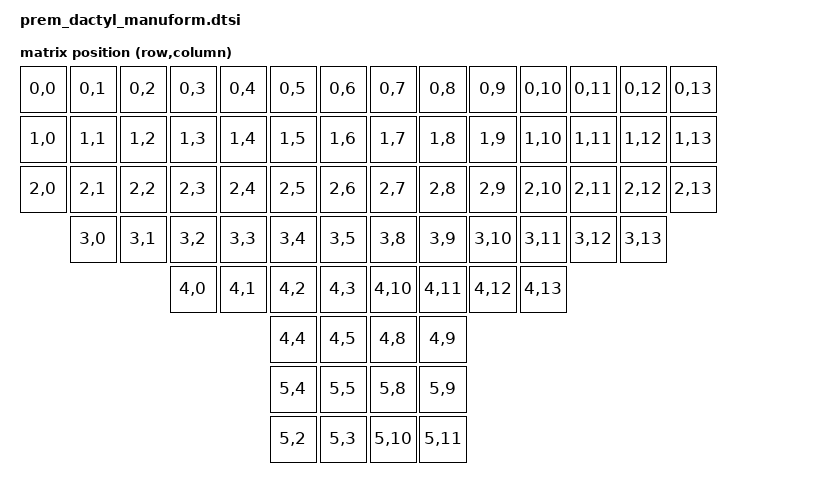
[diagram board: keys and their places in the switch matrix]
#include <dt-bindings/zmk/matrix_transform.h>

/ {
	chosen {
		zmk,kscan = &kscan0;
		zmk,matrix_transform = &default_transform;
	};

	default_transform: keymap_transform_0 {
		compatible = "zmk,matrix-transform";
		columns = <14>;
		rows = <6>;
// | SW1  | SW2  | SW3  | SW4  | SW5  | SW6  |   | SW6  | SW5  | SW4  | SW3  | SW2  | SW1  |
// | SW7  | SW8  | SW9  | SW10 | SW11 | SW12 |   | SW12 | SW11 | SW10 | SW9  | SW8  | SW7  |
// | SW13 | SW14 | SW15 | SW16 | SW17 | SW18 |   | SW18 | SW17 | SW16 | SW15 | SW14 | SW13 |
//                      | SW19 | SW20 | SW21 |   | SW21 | SW20 | SW19 |

// RC(0,0) RC(0,1) RC(0,2) RC(0,3) RC(0,4) RC(0,5)  RC(0,6) RC(0,7) RC(0,8) RC(0,9) RC(0,10) RC(0,11)
// RC(1,0) RC(1,1) RC(1,2) RC(1,3) RC(1,4) RC(1,5)  RC(1,6) RC(1,7) RC(1,8) RC(1,9) RC(1,10) RC(1,11)
// RC(2,0) RC(2,1) RC(2,2) RC(2,3) RC(2,4) RC(2,5)  RC(2,6) RC(2,7) RC(2,8) RC(2,9) RC(2,10) RC(2,11)
//                         RC(3,3) RC(3,4) RC(3,5)  RC(3,6) RC(3,7) RC(3,8)
		map = <
RC(0, 0)  RC(0, 1)  RC(0, 2)  RC(0, 3)  RC(0, 4)  RC(0, 5)  RC(0, 6)     RC(0, 7)  RC(0, 8)  RC(0, 9)  RC(0,10)  RC(0,11)  RC(0,12)  RC(0,13)
RC(1, 0)  RC(1, 1)  RC(1, 2)  RC(1, 3)  RC(1, 4)  RC(1, 5)  RC(1, 6)		 RC(1, 7)  RC(1, 8)  RC(1, 9)  RC(1,10)  RC(1,11)  RC(1,12)  RC(1,13)
RC(2, 0)  RC(2, 1)  RC(2, 2)  RC(2, 3)  RC(2, 4)  RC(2, 5)  RC(2, 6)	   RC(2, 7)  RC(2, 8)  RC(2, 9)  RC(2,10)  RC(2,11)  RC(2,12)  RC(2,13)
RC(3, 0)  RC(3, 1)  RC(3, 2)  RC(3, 3)  RC(3, 4)  RC(3, 5)											   RC(3, 8)  RC(3, 9)  RC(3,10)  RC(3,11)  RC(3,12)  RC(3,13)
RC(4, 0)  RC(4, 1)  RC(4, 2)  RC(4, 3)																			                           RC(4,10)  RC(4,11)  RC(4,12)  RC(4,13)
																				RC(4, 4)  RC(4, 5)								  			 RC(4, 8)  RC(4, 9)
																									RC(5, 4)  RC(5, 5)   	 RC(5, 8)  RC(5,9)
																									RC(5, 2)  RC(5, 3)		 RC(5,10)  RC(5,11)
		>;
	};





//  L11,   L12,   L13, L14, L15, L16,   L17
//  L21,   L22,   L23, L24, L25, L26,   L27
//  L31,   L32,   L33, L34, L35, L36,   L37
//  L41,   L42,   L43, L44, L45, L46
//  L51,   L52,   L53, L54, L55, L56
//  L63, L64, L65, L66

//  R11,   R12,   R13, R14, R15, R16,   R17
//  R21,   R22,   R23, R24, R25, R26,   R27
//  R31,   R32,   R33, R34, R35, R36,   R37
//  R42,   R43, R44, R45, R46,   R47
//  R52,   R53, R54, R55, R56,   R57
//  R62,   R63, R64, R65, 
 
 // 	five_column_transform: keymap_transform_1 {
// 		compatible = "zmk,matrix-transform";
// 		columns = <10>;
// 		rows = <4>;
// // | SW2  | SW3  | SW4  | SW5  | SW6  |   | SW6  | SW5  | SW4  | SW3  | SW2  |
// // | SW8  | SW9  | SW10 | SW11 | SW12 |   | SW12 | SW11 | SW10 | SW9  | SW8  |
// // | SW14 | SW15 | SW16 | SW17 | SW18 |   | SW18 | SW17 | SW16 | SW15 | SW14 |
// //                      | SW19 | SW20 | SW21 |   | SW21 | SW20 | SW19 |
// 		map = <
// RC(0,1) RC(0,2) RC(0,3) RC(0,4) RC(0,5)  RC(0,6) RC(0,7) RC(0,8) RC(0,9) RC(0,10)
// RC(1,1) RC(1,2) RC(1,3) RC(1,4) RC(1,5)  RC(1,6) RC(1,7) RC(1,8) RC(1,9) RC(1,10)
// RC(2,1) RC(2,2) RC(2,3) RC(2,4) RC(2,5)  RC(2,6) RC(2,7) RC(2,8) RC(2,9) RC(2,10)
//                         RC(3,3) RC(3,4) RC(3,5)  RC(3,6) RC(3,7) RC(3,8)
// 		>;
// 	};

	kscan0: kscan {
		compatible = "zmk,kscan-gpio-matrix";
		label = "KSCAN";

		diode-direction = "row2col";
		// row-gpios
		// 	= <&pro_micro_d 9 (GPIO_ACTIVE_HIGH | GPIO_PULL_DOWN)>
		// 	, <&pro_micro_d 8 (GPIO_ACTIVE_HIGH | GPIO_PULL_DOWN)>
		// 	, <&pro_micro_d 7 (GPIO_ACTIVE_HIGH | GPIO_PULL_DOWN)>
		// 	, <&pro_micro_d 6 (GPIO_ACTIVE_HIGH | GPIO_PULL_DOWN)>
		// 	, <&pro_micro_d 5 (GPIO_ACTIVE_HIGH | GPIO_PULL_DOWN)>
		// 	, <&pro_micro_d 4 (GPIO_ACTIVE_HIGH | GPIO_PULL_DOWN)>
		// 	, <&pro_micro_d 3 (GPIO_ACTIVE_HIGH | GPIO_PULL_DOWN)>
		// ;
	};

	bt_unpair_combo: bt_unpair_combo {
		compatible = "zmk,bt-unpair-combo";
	};

};

&pro_micro_i2c {
	status = "okay";

	// oled: ssd1306@3c {
	// 	compatible = "solomon,ssd1306fb";
	// 	reg = <0x3c>;
	// 	label = "DISPLAY";
	// 	width = <128>;
	// 	height = <32>;
	// 	segment-offset = <0>;
	// 	page-offset = <0>;
	// 	display-offset = <0>;
	// 	multiplex-ratio = <31>;
	// 	segment-remap;
	// 	com-invdir;
	// 	com-sequential;
	// 	prechargep = <0x22>;
	// };
};
